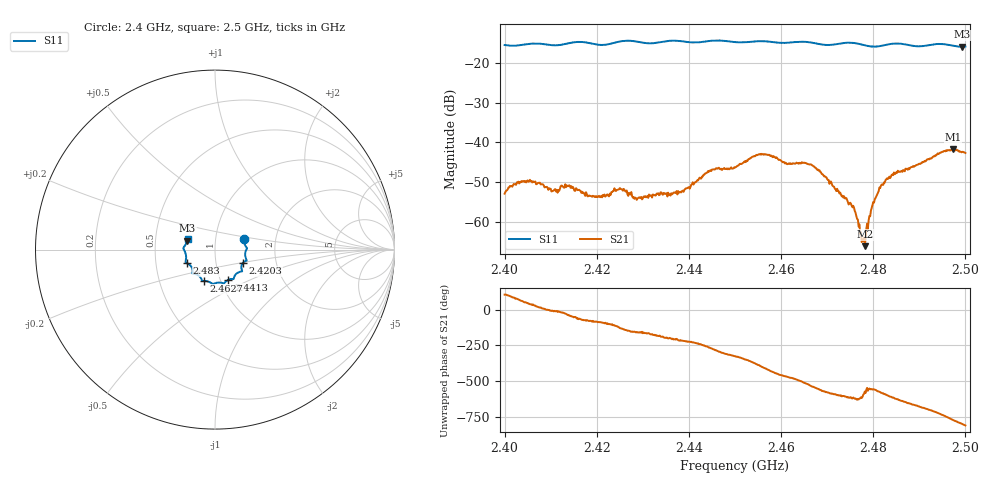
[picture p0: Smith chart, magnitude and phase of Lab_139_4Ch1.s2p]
# Hz S RI R 50
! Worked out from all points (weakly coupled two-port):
!   601 points, 2.4 GHz to 2.5 GHz, reference 50 ohm
!   highest |S21| = -41.73 dB at 2.4973 GHz (marker M1); lowest = -66.2 dB at 2.4782 GHz (marker M2)
!   lowest |S11| = -15.8 dB at 2.4993 GHz (marker M3), VSWR 1.39, Z = 36.5 + j3.7 ohm
!   |S11| at or under -10 dB: start of sweep to end of sweep
!   S12 and S22 are empty: the file has one direction only
!   S11 on the Smith chart (normalised r, x): 2.4 GHz: 1.37, +0.16; 2.4203 GHz: 1.35, -0.21; 2.4413 GHz: 1.09, -0.38; 2.4627 GHz: 0.83, -0.30; 2.483 GHz: 0.72, -0.11; 2.5 GHz: 0.73, +0.09
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2.4e9  0.161 0.0569  -0.000569 0.00218  0 0  0 0
2.405333e9  0.1764 0.0113  0.00246 0.00211  0 0  0 0
2.416667e9  0.1762 -0.0617  0.0008 -0.00216  0 0  0 0
2.420333e9  0.1553 -0.0741  0.00011 -0.00207  0 0  0 0
2.425e9  0.1502 -0.115  -0.00169 -0.00204  0 0  0 0
2.428333e9  0.146 -0.1219  -0.00185 -0.00079  0 0  0 0
2.433333e9  0.1081 -0.1482  -0.00227 0.000229  0 0  0 0
2.441333e9  0.0744 -0.1682  -0.00188 0.00251  0 0  0 0
2.444667e9  0.0532 -0.1852  3.02e-05 0.00444  0 0  0 0
2.45e9  0.0293 -0.1837  0.00401 0.00267  0 0  0 0
2.4555e9  -0.00984 -0.191  0.00582 -0.00418  0 0  0 0
2.462667e9  -0.062 -0.1747  -0.00297 -0.00454  0 0  0 0
2.466667e9  -0.0744 -0.1673  -0.00517 -0.00022  0 0  0 0
2.475333e9  -0.1251 -0.1327  -0.000198 0.00156  0 0  0 0
2.477667e9  -0.1243 -0.1194  -0.000182 0.000559  0 0  0 0
2.478167e9  -0.1247 -0.1148  -0.000402 0.000278  0 0  0 0
2.480167e9  -0.1326 -0.0948  -0.00163 0.000596  0 0  0 0
2.483e9  -0.1549 -0.0766  -0.00172 0.00306  0 0  0 0
2.483333e9  -0.1571 -0.0756  -0.00144 0.00324  0 0  0 0
2.497333e9  -0.1649 0.0261  0.00471 -0.0067  0 0  0 0
2.499333e9  -0.1545 0.0494  0.00108 -0.00754  0 0  0 0
2.5e9  -0.1528 0.0584  -0.000307 -0.00736  0 0  0 0
